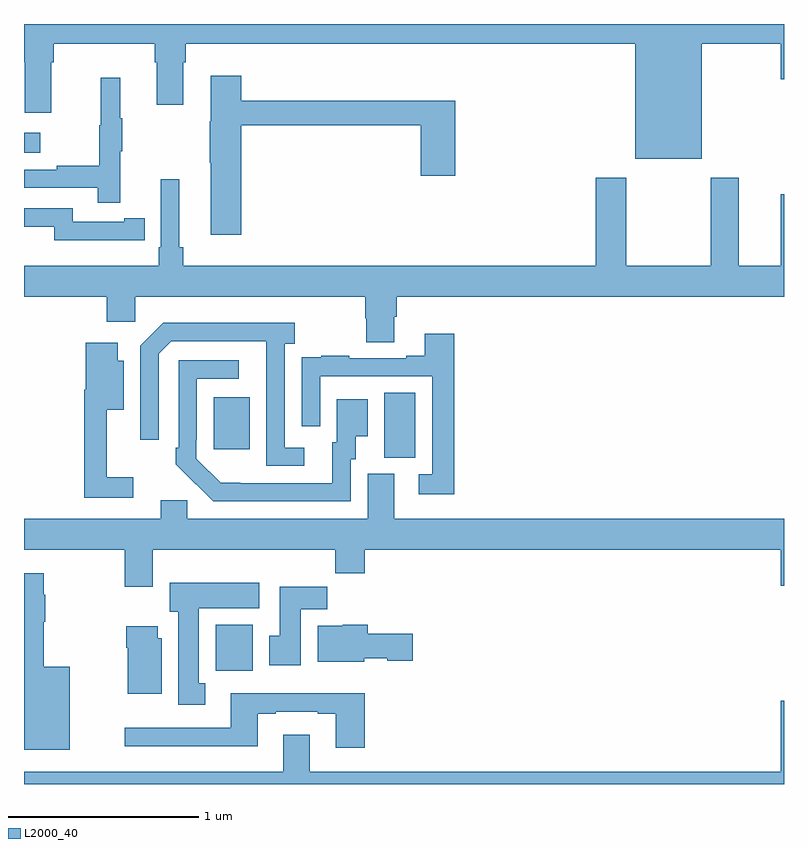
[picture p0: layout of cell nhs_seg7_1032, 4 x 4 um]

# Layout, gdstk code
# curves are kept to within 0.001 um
import gdstk
lib = gdstk.Library(unit=1e-6, precision=1e-09)
def R(c, l, rs):  # rectangles x0, y0, x1, y1
    for r in rs: c.add(gdstk.rectangle(r[:2], r[2:], *l))
def P(c, l, *ps):  # polygons
    for p in ps: c.add(gdstk.Polygon(p, *l))
L2000_40 = (2000, 40)

nhs_seg7_1032 = lib.new_cell('nhs_seg7_1032')
R(nhs_seg7_1032, L2000_40, [(186.008,1050.596,186.205,1050.838), (186.896,1051.717,187.06,1052.06), (185.999,1051.761,186.187,1052.035), (185,1053.323,185.086,1053.427)])
P(nhs_seg7_1032, L2000_40, [(188.566,1053.896),(188.984,1053.896),(188.984,1053.708),(189,1053.708),(189,1054),(185,1054),(185,1053.8),(185.003,1053.8),(185.003,1053.534),(185.143,1053.534),(185.143,1053.8),(185.156,1053.8),(185.156,1053.896),(185.687,1053.896),(185.687,1053.8),(185.699,1053.8),(185.699,1053.576),(185.839,1053.576),(185.839,1053.8),(185.852,1053.8),(185.852,1053.896),(188.216,1053.896),(188.216,1053.29),(188.566,1053.29)],
  [(186.143,1053.466),(187.088,1053.466),(187.088,1053.201),(187.271,1053.201),(187.271,1053.595),(186.143,1053.595),(186.143,1053.727),(185.984,1053.727),(185.984,1053.489),(185.977,1053.489),(185.977,1053.271),(185.984,1053.271),(185.984,1052.892),(186.143,1052.892)],
  [(185.507,1053.331),(185.518,1053.331),(185.518,1053.505),(185.507,1053.505),(185.507,1053.718),(185.404,1053.718),(185.404,1053.468),(185.397,1053.468),(185.397,1053.254),(185.173,1053.254),(185.173,1053.234),(185,1053.234),(185,1053.138),(185.389,1053.138),(185.389,1053.06),(185.507,1053.06)],
  [(186.949,1052.458),(186.962,1052.458),(186.962,1052.564),(189,1052.564),(189,1053.103),(188.984,1053.103),(188.984,1052.728),(188.761,1052.728),(188.761,1053.19),(188.614,1053.19),(188.614,1052.728),(188.169,1052.728),(188.169,1053.19),(188.009,1053.19),(188.009,1052.728),(185.837,1052.728),(185.837,1052.824),(185.818,1052.824),(185.818,1053.184),(185.721,1053.184),(185.721,1052.824),(185.708,1052.824),(185.708,1052.728),(185,1052.728),(185,1052.564),(185.435,1052.564),(185.435,1052.433),(185.586,1052.433),(185.586,1052.564),(186.797,1052.564),(186.797,1052.451),(186.802,1052.451),(186.802,1052.326),(186.949,1052.326)],
  [(185.528,1052.862),(185.636,1052.862),(185.636,1052.978),(185.528,1052.978),(185.528,1052.958),(185.256,1052.958),(185.256,1053.03),(185,1053.03),(185,1052.934),(185.16,1052.934),(185.16,1052.861),(185.528,1052.861)],
  [(186.475,1051.77),(186.372,1051.77),(186.372,1052.318),(186.424,1052.318),(186.424,1052.428),(185.734,1052.428),(185.613,1052.307),(185.613,1051.812),(185.709,1051.812),(185.709,1052.265),(185.775,1052.331),(186.275,1052.331),(186.276,1051.674),(186.475,1051.674)],
  [(187.265,1052.371),(187.109,1052.371),(187.109,1052.254),(187.013,1052.254),(187.013,1052.241),(186.713,1052.241),(186.713,1052.254),(186.565,1052.254),(186.565,1052.247),(186.463,1052.247),(186.463,1052.138),(186.462,1052.138),(186.462,1051.884),(186.558,1051.884),(186.558,1052.145),(187.149,1052.145),(187.149,1051.629),(187.077,1051.629),(187.077,1051.524),(187.265,1051.524)],
  [(185.575,1051.615),(185.435,1051.615),(185.435,1051.97),(185.524,1051.97),(185.524,1052.227),(185.494,1052.227),(185.494,1052.323),(185.324,1052.323),(185.324,1052.074),(185.317,1052.074),(185.317,1051.506),(185.575,1051.506)],
  [(186.72,1051.71),(186.745,1051.71),(186.745,1051.829),(186.808,1051.829),(186.808,1052.026),(186.647,1052.026),(186.647,1051.8),(186.623,1051.8),(186.623,1051.584),(186.036,1051.585),(185.907,1051.713),(185.907,1051.813),(185.91,1051.813),(185.91,1052.133),(186.13,1052.133),(186.13,1052.229),(185.814,1052.229),(185.814,1051.771),(185.799,1051.771),(185.799,1051.683),(185.996,1051.488),(186.72,1051.488)],
  [(185.677,1051.232),(186.637,1051.232),(186.637,1051.108),(186.794,1051.108),(186.794,1051.232),(188.984,1051.232),(188.984,1051.044),(189,1051.044),(189,1051.396),(186.949,1051.396),(186.949,1051.632),(186.809,1051.632),(186.809,1051.396),(185.859,1051.396),(185.859,1051.494),(185.72,1051.494),(185.72,1051.396),(185,1051.396),(185,1051.232),(185.53,1051.232),(185.53,1051.038),(185.677,1051.038)],
  [(185.242,1050.616),(185.105,1050.616),(185.105,1050.854),(185.113,1050.854),(185.113,1050.995),(185.105,1050.995),(185.105,1051.108),(185,1051.108),(185,1050.179),(185.242,1050.179)],
  [(185.953,1050.53),(185.92,1050.53),(185.92,1050.926),(186.238,1050.926),(186.238,1051.06),(185.768,1051.06),(185.768,1050.906),(185.813,1050.906),(185.813,1050.417),(185.953,1050.417)],
  [(186.457,1050.92),(186.596,1050.92),(186.596,1051.039),(186.347,1051.039),(186.347,1050.78),(186.29,1050.78),(186.29,1050.624),(186.457,1050.624)],
  [(186.792,1050.662),(186.912,1050.662),(186.912,1050.65),(187.045,1050.65),(187.045,1050.792),(186.809,1050.792),(186.809,1050.838),(186.678,1050.838),(186.678,1050.832),(186.545,1050.832),(186.545,1050.644),(186.792,1050.644)],
  [(185.725,1050.768),(185.704,1050.768),(185.704,1050.829),(185.539,1050.829),(185.539,1050.716),(185.546,1050.716),(185.546,1050.476),(185.725,1050.476)],
  [(186.794,1050.478),(186.089,1050.478),(186.089,1050.297),(185.529,1050.297),(185.529,1050.2),(186.229,1050.2),(186.229,1050.369),(186.325,1050.369),(186.325,1050.381),(186.545,1050.381),(186.545,1050.369),(186.641,1050.369),(186.641,1050.192),(186.794,1050.192)],
  [(189,1050.439),(188.984,1050.439),(188.984,1050.064),(186.505,1050.064),(186.505,1050.259),(186.365,1050.259),(186.365,1050.064),(185,1050.064),(185,1050),(189,1050)])

lib.write_gds('nhs_seg7_1032.gds')
